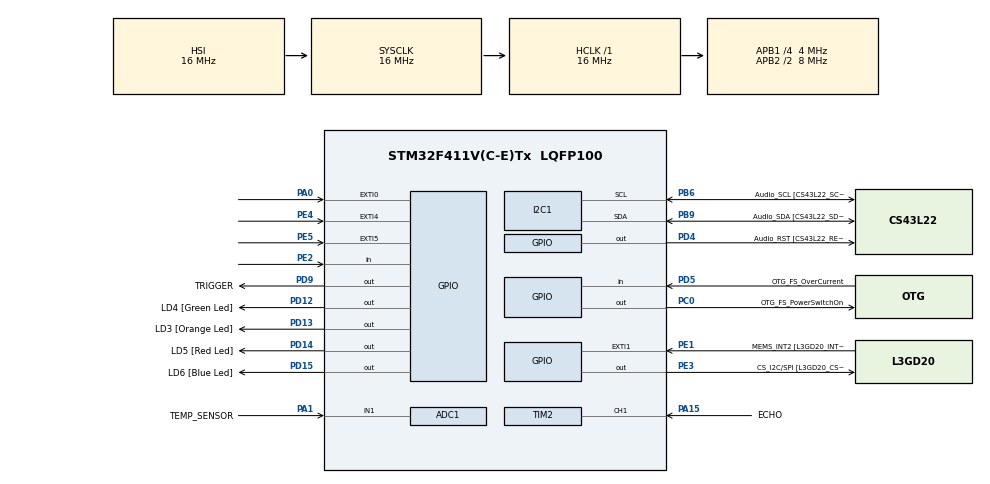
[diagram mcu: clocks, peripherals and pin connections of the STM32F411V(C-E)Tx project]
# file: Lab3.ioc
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ADC1.Channel-0\#ChannelRegularConversion=ADC_CHANNEL_1
ADC1.NbrOfConversionFlag=1
ADC1.Rank-0\#ChannelRegularConversion=1
ADC1.SamplingTime-0\#ChannelRegularConversion=ADC_SAMPLETIME_3CYCLES
ADC1.master=1
Mcu.Family=STM32F4
Mcu.Name=STM32F411V(C-E)Tx
Mcu.Package=LQFP100
NVIC.PriorityGroup=NVIC_PRIORITYGROUP_0
NVIC.TIM2_IRQn=true\:0\:0\:false\:false\:true\:true\:true\:true
PA0-WKUP.GPIO_ModeDefaultEXTI=GPIO_MODE_EVT_RISING
PA0-WKUP.Signal=GPXTI0
PA1.GPIO_Label=TEMP_SENSOR
PA1.Signal=ADCx_IN1
PA10.GPIO_Label=OTG_FS_ID
PA10.Signal=USB_OTG_FS_ID
PA11.GPIO_Label=OTG_FS_DM
PA11.Signal=USB_OTG_FS_DM
PA12.GPIO_Label=OTG_FS_DP
PA12.Signal=USB_OTG_FS_DP
PA13.GPIO_Label=SWDIO
PA13.Signal=SYS_JTMS-SWDIO
PA14.GPIO_Label=SWCLK
PA14.Signal=SYS_JTCK-SWCLK
PA15.GPIO_Label=ECHO
PA15.Signal=S_TIM2_CH1_ETR
PA4.GPIO_Label=I2S3_WS [CS43L22_LRCK]
PA4.GPIO_Mode=GPIO_MODE_AF_PP
PA4.GPIO_PuPd=GPIO_NOPULL
PA4.GPIO_Speed=GPIO_SPEED_FREQ_LOW
PA4.Signal=I2S3_WS
PA5.GPIO_Label=SPI1_SCK [L3GD20_SC/SPC]
PA5.Signal=SPI1_SCK
PA6.GPIO_Label=SPI1_MISO [L3GD20_AS0/SDO]
PA6.Signal=SPI1_MISO
PA7.GPIO_Label=SPI1_MOSI [L3GD20_SDA/SDI/SDO]
PA7.Signal=SPI1_MOSI
PA9.GPIO_Label=VBUS_FS
PA9.Signal=USB_OTG_FS_VBUS
PB10.GPIO_Label=CLK_IN [MP45DT02_CLK]
PB10.Signal=I2S2_CK
PB12.Signal=I2S2_WS
PB3.GPIO_Label=SWO
PB3.Signal=SYS_JTDO-SWO
PB6.GPIO_Label=Audio_SCL [CS43L22_SCL]
PB6.GPIO_Mode=GPIO_MODE_AF_OD
PB6.GPIO_PuPd=GPIO_NOPULL
PB6.GPIO_Speed=GPIO_SPEED_FREQ_LOW
PB6.Mode=I2C
PB6.Signal=I2C1_SCL
PB9.GPIO_Label=Audio_SDA [CS43L22_SDA]
PB9.GPIO_Mode=GPIO_MODE_AF_OD
PB9.GPIO_PuPd=GPIO_NOPULL
PB9.GPIO_Speed=GPIO_SPEED_FREQ_LOW
PB9.Mode=I2C
PB9.Signal=I2C1_SDA
PC0.GPIO_Label=OTG_FS_PowerSwitchOn
PC0.PinState=GPIO_PIN_SET
PC0.Signal=GPIO_Output
PC10.GPIO_Label=I2S3_SCK [CS43L22_SCLK]
PC10.GPIO_Mode=GPIO_MODE_AF_PP
PC10.GPIO_PuPd=GPIO_NOPULL
PC10.GPIO_Speed=GPIO_SPEED_FREQ_LOW
PC10.Signal=I2S3_CK
PC12.GPIO_Label=I2S3_SD [CS43L22_SDIN]
PC12.GPIO_Mode=GPIO_MODE_AF_PP
PC12.GPIO_PuPd=GPIO_NOPULL
PC12.GPIO_Speed=GPIO_SPEED_FREQ_LOW
PC12.Signal=I2S3_SD
PC14-OSC32_IN.GPIO_Label=PC14-OSC32_IN
PC14-OSC32_IN.Signal=RCC_OSC32_IN
PC15-OSC32_OUT.GPIO_Label=PC15-OSC32_OUT
PC15-OSC32_OUT.Signal=RCC_OSC32_OUT
PC3.GPIO_Label=PDM_OUT [MP45DT02_DOUT]
PC3.Signal=I2S2_SD
PC7.GPIO_Label=I2S3_MCK [CS43L22_MCLK]
PC7.GPIO_Mode=GPIO_MODE_AF_PP
PC7.GPIO_PuPd=GPIO_NOPULL
PC7.GPIO_Speed=GPIO_SPEED_FREQ_LOW
PC7.Signal=I2S3_MCK
PD12.GPIO_Label=LD4 [Green Led]
PD12.GPIO_PuPd=GPIO_NOPULL
PD12.GPIO_Speed=GPIO_SPEED_FREQ_LOW
PD12.Signal=GPIO_Output
PD13.GPIO_Label=LD3 [Orange Led]
PD13.GPIO_PuPd=GPIO_NOPULL
PD13.GPIO_Speed=GPIO_SPEED_FREQ_LOW
PD13.Signal=GPIO_Output
PD14.GPIO_Label=LD5 [Red Led]
PD14.GPIO_PuPd=GPIO_NOPULL
PD14.GPIO_Speed=GPIO_SPEED_FREQ_LOW
PD14.Signal=GPIO_Output
PD15.GPIO_Label=LD6 [Blue Led]
PD15.GPIO_PuPd=GPIO_NOPULL
PD15.GPIO_Speed=GPIO_SPEED_FREQ_LOW
PD15.Signal=GPIO_Output
PD4.GPIO_Label=Audio_RST [CS43L22_RESET]
PD4.Signal=GPIO_Output
PD5.GPIO_Label=OTG_FS_OverCurrent
PD5.Signal=GPIO_Input
PD9.GPIO_Label=TRIGGER
PD9.Signal=GPIO_Output
PE1.GPIO_Label=MEMS_INT2 [L3GD20_INT2]
PE1.GPIO_ModeDefaultEXTI=GPIO_MODE_EVT_RISING
PE1.Signal=GPXTI1
PE2.Signal=GPIO_Input
PE3.GPIO_Label=CS_I2C/SPI [L3GD20_CS_I2C/SPI]
PE3.Signal=GPIO_Output
PE4.GPIO_ModeDefaultEXTI=GPIO_MODE_EVT_RISING
PE4.Signal=GPXTI4
PE5.GPIO_ModeDefaultEXTI=GPIO_MODE_EVT_RISING
PE5.Signal=GPXTI5
PH0\ -\ OSC_IN.GPIO_Label=PH0-OSC_IN
PH0\ -\ OSC_IN.Signal=RCC_OSC_IN
PH1\ -\ OSC_OUT.GPIO_Label=PH1-OSC_OUT
PH1\ -\ OSC_OUT.Signal=RCC_OSC_OUT
ProjectManager.HeapSize=0x200
ProjectManager.StackSize=0x400
ProjectManager.TargetToolchain=STM32CubeIDE
RCC.48MHZClocksFreq_Value=48000000
RCC.AHBFreq_Value=16000000
RCC.APB1CLKDivider=RCC_HCLK_DIV4
RCC.APB1Freq_Value=4000000
RCC.APB1TimFreq_Value=8000000
RCC.APB2CLKDivider=RCC_HCLK_DIV2
RCC.APB2Freq_Value=8000000
RCC.APB2TimFreq_Value=16000000
RCC.CortexFreq_Value=16000000
RCC.HCLKFreq_Value=16000000
RCC.HSE_VALUE=8000000
RCC.HSI_VALUE=16000000
RCC.LSE_VALUE=32768
RCC.PLLI2SM=5
RCC.PLLI2SN=200
RCC.PLLM=8
RCC.PLLP=RCC_PLLP_DIV4
RCC.PLLQ=8
RCC.SYSCLKFreq_VALUE=16000000
RCC.VCOOutputFreq_Value=384000000
SH.ADCx_IN1.0=ADC1_IN1,IN1
SH.S_TIM2_CH1_ETR.0=TIM2_CH1,Input_Capture1_from_TI1
TIM2.Channel-Input_Capture1_from_TI1=TIM_CHANNEL_1
TIM2.Period=19999
TIM2.Prescaler=7
VP_TIM2_VS_ClockSourceINT.Mode=Internal
board=STM32F411E-DISCO

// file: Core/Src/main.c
/* USER CODE BEGIN Header */
/**
  ******************************************************************************
  * @file           : main.c
  * @brief          : Main program body
  ******************************************************************************
  * @attention
  *
  * Copyright (c) 2026 STMicroelectronics.
  * All rights reserved.
  *
  * This software is licensed under terms that can be found in the LICENSE file
  * in the root directory of this software component.
  * If no LICENSE file comes with this software, it is provided AS-IS.
  *
  ******************************************************************************
  */
/* USER CODE END Header */
#include "main.h"
#include "adc.h"
#include "i2c.h"
#include "tim.h"
#include "gpio.h"
#include "lsm303.h"

/* USER CODE BEGIN Includes */
#include "HC_SR04.h"
#include "lm35.h"

/* USER CODE END Includes */

/* USER CODE BEGIN PTD */
static LSM303_HandleTypeDef acelerometro;
static HCSR04_HandleTypeDef sensor;
static LM35_HandleTypeDef sens_temp_NB;
static LM35_HandleTypeDef sens_temp1;
static LM35_HandleTypeDef sens_temp2;
/* USER CODE END PTD */

/* USER CODE BEGIN PV */
volatile float accel_x_g = 0.0f;
volatile float accel_y_g = 0.0f;
volatile float accel_z_g = 0.0f;
/* USER CODE END PV */

void SystemClock_Config(void);
/* USER CODE BEGIN PFP */
void HAL_TIM_IC_CaptureCallback(TIM_HandleTypeDef *htim);
/* USER CODE END PFP */

int main(void)
{

  /* USER CODE BEGIN 1 */
	uint32_t currentTime = 0;
	uint32_t previousTime = 0;
	uint32_t previousTime_LED = 0;
	float distance = 0;
	float temp_sens_1 = 0.0f;
	float temp_sens_2 = 0.0f;
	float temp_NB = 0.0f;

	sensor.htim = &htim2;
	sensor.IC_Channel = TIM_CHANNEL_1;
	sensor.Trig_Port = TRIGGER_GPIO_Port;
	sensor.Trig_Pin = TRIGGER_Pin;

	uint32_t last_time_hcsr04 = 0;
	uint32_t last_time_lm35 = 0;
	uint32_t last_time_alarm = 0;
	uint8_t alarm_active = 0;

  /* USER CODE END 1 */

  /* MCU Configuration--------------------------------------------------------*/

  /* Reset of all peripherals, Initializes the Flash interface and the Systick. */
  HAL_Init();

  /* USER CODE BEGIN Init */

  LM35_Init(&sens_temp_NB, &hadc1, ADC_CHANNEL_1); //prueba no bloqueante
//  LM35_Init(&sens_temp1, &hadc1, ADC_CHANNEL_1);
//  LM35_Init(&sens_temp2, &hadc1, ADC_CHANNEL_1);

  /* USER CODE END Init */

  /* Configure the system clock */
  SystemClock_Config();

  /* Initialize all configured peripherals */
  MX_GPIO_Init();
  MX_TIM2_Init();
  MX_ADC1_Init();
  MX_I2C1_Init();
  /* USER CODE BEGIN 2 */
  	LM35_Start_Conversion(&sens_temp_NB); //prueba no bloqueante

	hcsr04_init(&sensor);
	hcsr04_start_measurement(&sensor);

	if (LSM303_Init(&acelerometro, &hi2c1) != HAL_OK) {
	      Error_Handler();
	  }
  /* USER CODE END 2 */

  /* Infinite loop */
  while (1)
  {

    /* USER CODE BEGIN 3 */
	  currentTime = HAL_GetTick();
//	  if (hcsr04_is_data_ready(&sensor)) {
//		  distance = hcsr04_get_distance_cm(&sensor);
//		  if (distance > 50.0) {
//				HAL_GPIO_WritePin(LD3_GPIO_Port, LD3_Pin, GPIO_PIN_RESET);
//				HAL_GPIO_WritePin(LD4_GPIO_Port, LD4_Pin, GPIO_PIN_SET);
//				HAL_GPIO_WritePin(LD5_GPIO_Port, LD5_Pin, GPIO_PIN_RESET);
//		  } else if (20.0 <= distance && distance <= 50.0){
//			  	HAL_GPIO_WritePin(LD3_GPIO_Port, LD3_Pin, GPIO_PIN_SET);
//			    HAL_GPIO_WritePin(LD4_GPIO_Port, LD4_Pin, GPIO_PIN_RESET);
//			    HAL_GPIO_WritePin(LD5_GPIO_Port, LD5_Pin, GPIO_PIN_RESET);
//		  } else {
//			    HAL_GPIO_WritePin(LD3_GPIO_Port, LD3_Pin, GPIO_PIN_RESET);
//			    HAL_GPIO_WritePin(LD4_GPIO_Port, LD4_Pin, GPIO_PIN_RESET);
//			    HAL_GPIO_WritePin(LD5_GPIO_Port, LD5_Pin, GPIO_PIN_SET);
//		  }
//	}
//
//	  if (currentTime - previousTime >= 60) {
//		hcsr04_start_measurement(&sensor);
//		previousTime = currentTime;
//	}

	  // ----------------------------- Desafio 2 ------------------------------------------------------------

//	  temp_sens_1 = LM35_Read_Blocking(&sens_temp1);
//	  temp_sens_2 = LM35_Read_Blocking(&sens_temp2);
//
//	  if (LM35_Get_Temperature(&sens_temp_NB, &temp_NB) == true) {
//		 LM35_Start_Conversion(&sens_temp_NB);
//	}
//

	  // ------------------------------ Desafio 3 ---------------------------------------------------------

//	  LSM303_Read_Accel(&acelerometro);
//
//	  // 2. Conversión a Fuerzas G reales
//	  accel_x_g = (float)(acelerometro.accel_x_raw >> 4) * 0.001f;
//	  accel_y_g = (float)(acelerometro.accel_y_raw >> 4) * 0.001f;
//	  accel_z_g = (float)(acelerometro.accel_z_raw >> 4) * 0.001f;
//
//	  // 3. Control de LEDs por Inclinación (Umbral de ±0.4g)
//	  // Eje X: Inclinación Lateral (Izquierda / Derecha)
//	  if (accel_x_g > 0.4f) {
//		  HAL_GPIO_WritePin(GPIOD, LD4_Pin, GPIO_PIN_SET);   // Enciende LED Verde
//		  HAL_GPIO_WritePin(GPIOD, LD5_Pin, GPIO_PIN_RESET);
//	  } else if (accel_x_g < -0.4f) {
//		  HAL_GPIO_WritePin(GPIOD, LD4_Pin, GPIO_PIN_RESET);
//		  HAL_GPIO_WritePin(GPIOD, LD5_Pin, GPIO_PIN_SET);   // Enciende LED Rojo
//	  } else {
//		  HAL_GPIO_WritePin(GPIOD, LD4_Pin | LD5_Pin, GPIO_PIN_RESET);
//	  }
//
//	  // Eje Y: Inclinación Frontal (Adelante / Atrás)
//	  if (accel_y_g > 0.4f) {
//		  HAL_GPIO_WritePin(GPIOD, LD3_Pin, GPIO_PIN_SET);   // Enciende LED Naranja
//		  HAL_GPIO_WritePin(GPIOD, LD6_Pin, GPIO_PIN_RESET);
//	  } else if (accel_y_g < -0.4f) {
//		  HAL_GPIO_WritePin(GPIOD, LD3_Pin, GPIO_PIN_RESET);
//		  HAL_GPIO_WritePin(GPIOD, LD6_Pin, GPIO_PIN_SET);   // Enciende LED Azul
//	  } else {
//		  HAL_GPIO_WritePin(GPIOD, LD3_Pin | LD6_Pin, GPIO_PIN_RESET);
//	  }

	  // problema de parpadeo de led azul

//	  HAL_GPIO_TogglePin(GPIOD, LD6_Pin);
//	  HAL_Delay(500);

	  // parpadeo no bloqueante

//	 if (currentTime - previousTime_LED >= 500) {
//		 HAL_GPIO_TogglePin(GPIOD, LD6_Pin);
//		 previousTime_LED = currentTime;
//	}

	  //------------------------ desafio 4 ----------------------------------

	  	  LSM303_Read_Accel(&acelerometro);

	  	  // 2. Conversión a Fuerzas G reales
	  	  accel_x_g = (float)(acelerometro.accel_x_raw >> 4) * 0.001f;
	  	  accel_y_g = (float)(acelerometro.accel_y_raw >> 4) * 0.001f;
	  	  accel_z_g = (float)(acelerometro.accel_z_raw >> 4) * 0.001f;

	  	  // 3. Control de LEDs por Inclinación (Umbral de ±0.4g)
	  	  // Eje X: Inclinación Lateral (Izquierda / Derecha)
	  	  if (accel_x_g > 0.4f) {
	  		  HAL_GPIO_WritePin(GPIOD, LD4_Pin, GPIO_PIN_SET);   // Enciende LED Verde
	  	  } else {
	  		  HAL_GPIO_WritePin(GPIOD, LD4_Pin, GPIO_PIN_RESET);
	  	  }

	  	  if (alarm_active == 0){

			  if (accel_x_g < -0.4f) {
				  HAL_GPIO_WritePin(GPIOD, LD5_Pin, GPIO_PIN_SET);
			  } else {
				  HAL_GPIO_WritePin(GPIOD, LD5_Pin, GPIO_PIN_RESET);
			  }
	  	  }

	  	  // Eje Y: Inclinación Frontal (Adelante / Atrás)
	  	  if (accel_y_g > 0.4f) {
	  		  HAL_GPIO_WritePin(GPIOD, LD3_Pin, GPIO_PIN_SET);   // Enciende LED Naranja
	  		  HAL_GPIO_WritePin(GPIOD, LD6_Pin, GPIO_PIN_RESET);
	  	  } else if (accel_y_g < -0.4f) {
	  		  HAL_GPIO_WritePin(GPIOD, LD3_Pin, GPIO_PIN_RESET);
	  		  HAL_GPIO_WritePin(GPIOD, LD6_Pin, GPIO_PIN_SET);   // Enciende LED Azul
	  	  } else {
	  		  HAL_GPIO_WritePin(GPIOD, LD3_Pin | LD6_Pin, GPIO_PIN_RESET);
	  	  }

	  	  if (hcsr04_is_data_ready(&sensor)) {
	  		  distance = hcsr04_get_distance_cm(&sensor);

	  		  if(distance < 15.0f){
	  			  alarm_active = 1;
	  		  } else {
	  			  alarm_active = 0;
	  		  }
	  	  }

	  	  if (currentTime - last_time_hcsr04 >= 100){
	  		  hcsr04_start_measurement(&sensor);
	  		  last_time_hcsr04 = currentTime;
	  	  }

	  	  if (currentTime - last_time_lm35 >= 100){
	  		  if (LM35_Get_Temperature(&sens_temp_NB, &temp_NB)){
	  			  LM35_Start_Conversion(&sens_temp_NB);
	  		  }
	  		  last_time_lm35 = currentTime;
	  	  }

	  	  if (alarm_active == 1){
	  		  if (currentTime - last_time_alarm >= 100){
	  			  HAL_GPIO_TogglePin(GPIOD, LD5_Pin);
	  			  last_time_alarm = currentTime;
	  		  }
	  	  }

  }
  /* USER CODE END 3 */
}

void SystemClock_Config(void)
{
  RCC_OscInitTypeDef RCC_OscInitStruct = {0};
  RCC_ClkInitTypeDef RCC_ClkInitStruct = {0};

  /** Configure the main internal regulator output voltage
  */
  __HAL_RCC_PWR_CLK_ENABLE();
  __HAL_PWR_VOLTAGESCALING_CONFIG(PWR_REGULATOR_VOLTAGE_SCALE1);

  /** Initializes the RCC Oscillators according to the specified parameters
  * in the RCC_OscInitTypeDef structure.
  */
  RCC_OscInitStruct.OscillatorType = RCC_OSCILLATORTYPE_HSI;
  RCC_OscInitStruct.HSIState = RCC_HSI_ON;
  RCC_OscInitStruct.HSICalibrationValue = RCC_HSICALIBRATION_DEFAULT;
  RCC_OscInitStruct.PLL.PLLState = RCC_PLL_NONE;
  if (HAL_RCC_OscConfig(&RCC_OscInitStruct) != HAL_OK)
  {
    Error_Handler();
  }

  /** Initializes the CPU, AHB and APB buses clocks
  */
  RCC_ClkInitStruct.ClockType = RCC_CLOCKTYPE_HCLK|RCC_CLOCKTYPE_SYSCLK
                              |RCC_CLOCKTYPE_PCLK1|RCC_CLOCKTYPE_PCLK2;
  RCC_ClkInitStruct.SYSCLKSource = RCC_SYSCLKSOURCE_HSI;
  RCC_ClkInitStruct.AHBCLKDivider = RCC_SYSCLK_DIV1;
  RCC_ClkInitStruct.APB1CLKDivider = RCC_HCLK_DIV4;
  RCC_ClkInitStruct.APB2CLKDivider = RCC_HCLK_DIV2;

  if (HAL_RCC_ClockConfig(&RCC_ClkInitStruct, FLASH_LATENCY_0) != HAL_OK)
  {
    Error_Handler();
  }
}

/* USER CODE BEGIN 4 */
void HAL_TIM_IC_CaptureCallback(TIM_HandleTypeDef *htim){
	hcsr04_tim_ic_callback(&sensor, htim);
}

void HAL_ADC_ConvCpltCallback(ADC_HandleTypeDef* hadc) {

	if(hadc == sens_temp_NB.hadc){
		sens_temp_NB.data = HAL_ADC_GetValue(hadc);

		sens_temp_NB._data_ready = 1;

		HAL_ADC_Stop_IT(hadc);
	}

}

/* USER CODE END 4 */

void Error_Handler(void)
{
  __disable_irq();
  while (1)
  {
  }
}
